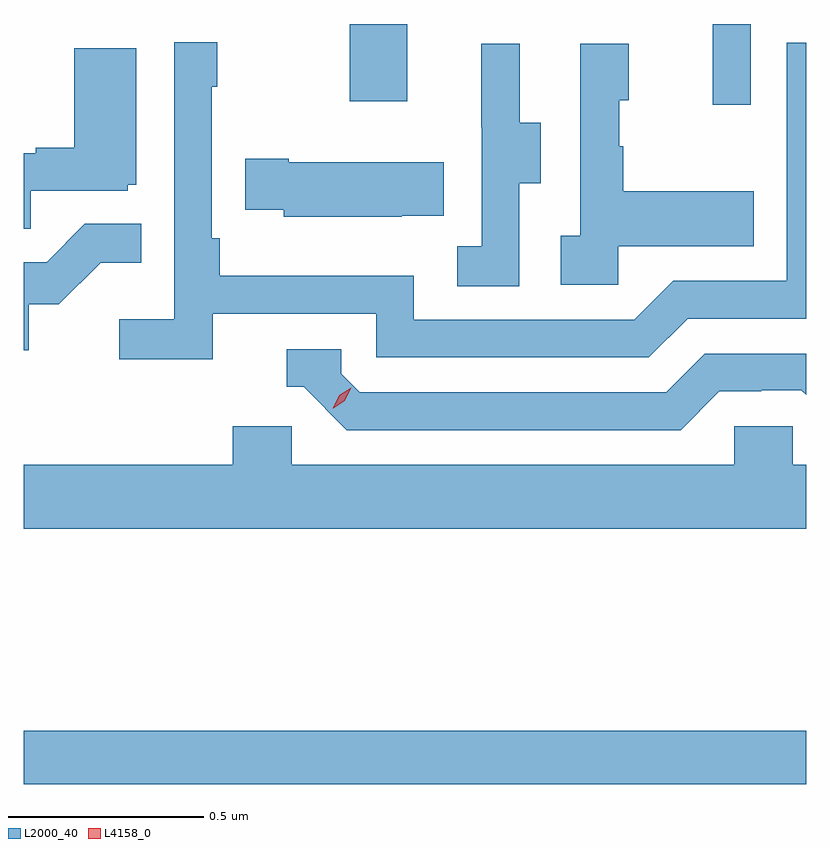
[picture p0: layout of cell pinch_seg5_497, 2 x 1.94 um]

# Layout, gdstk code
import gdstk
lib = gdstk.Library(unit=1e-6, precision=1e-09)
def R(c, l, rs):  # rectangles x0, y0, x1, y1
    for r in rs: c.add(gdstk.rectangle(r[:2], r[2:], *l))
def P(c, l, *ps):  # polygons
    for p in ps: c.add(gdstk.Polygon(p, *l))
L2000_40 = (2000, 40)
L4158_0 = (4158, 0)

pinch_seg5_497 = lib.new_cell('pinch_seg5_497')
R(pinch_seg5_497, L2000_40, [(910.913,852.112,912.913,852.248), (912.674,853.848,912.771,854.055), (911.746,853.857,911.893,854.055)])
P(pinch_seg5_497, L2000_40, [(911.396,853.314),(911.814,853.314),(911.814,853.203),(912.511,853.203),(912.61,853.302),(912.913,853.302),(912.913,854.007),(912.864,854.007),(912.864,853.398),(912.573,853.398),(912.474,853.299),(911.91,853.299),(911.91,853.411),(911.414,853.411),(911.414,853.507),(911.394,853.507),(911.394,853.895),(911.407,853.895),(911.407,854.008),(911.298,854.008),(911.298,853.3),(911.157,853.3),(911.157,853.198),(911.396,853.198)],
  [(912.18,853.648),(912.235,853.648),(912.235,853.803),(912.181,853.803),(912.181,854.005),(912.083,854.005),(912.083,853.791),(912.084,853.791),(912.084,853.487),(912.021,853.487),(912.021,853.384),(912.18,853.384)],
  [(912.432,853.487),(912.779,853.487),(912.779,853.627),(912.445,853.627),(912.445,853.742),(912.435,853.742),(912.435,853.86),(912.46,853.86),(912.46,854.005),(912.336,854.005),(912.336,853.514),(912.285,853.514),(912.285,853.389),(912.432,853.389)],
  [(910.931,853.629),(911.178,853.629),(911.178,853.644),(911.2,853.644),(911.2,853.993),(911.042,853.993),(911.042,853.738),(910.943,853.738),(910.943,853.725),(910.913,853.725),(910.913,853.531),(910.931,853.531)],
  [(911.879,853.565),(911.987,853.565),(911.987,853.702),(911.59,853.702),(911.59,853.71),(911.479,853.71),(911.479,853.58),(911.577,853.58),(911.577,853.562),(911.879,853.562)],
  [(910.926,853.338),(911.002,853.338),(911.109,853.445),(911.213,853.445),(911.213,853.544),(911.069,853.544),(910.971,853.446),(910.913,853.446),(910.913,853.221),(910.926,853.221)],
  [(912.691,853.116),(912.798,853.116),(912.798,853.119),(912.901,853.119),(912.913,853.107),(912.913,853.212),(912.654,853.212),(912.555,853.113),(911.772,853.113),(911.724,853.161),(911.724,853.224),(911.585,853.224),(911.585,853.128),(911.628,853.128),(911.739,853.017),(912.592,853.017)],
  [(912.729,853.026),(912.729,852.928),(911.598,852.928),(911.598,853.026),(911.447,853.026),(911.447,852.928),(910.913,852.928),(910.913,852.764),(912.913,852.764),(912.913,852.928),(912.879,852.928),(912.879,853.026)])
P(pinch_seg5_497, L4158_0, [(911.703,853.073),(911.703,853.073),(911.719,853.106),(911.75,853.125),(911.75,853.125),(911.75,853.125),(911.734,853.092),(911.704,853.073)])

lib.write_gds('pinch_seg5_497.gds')
